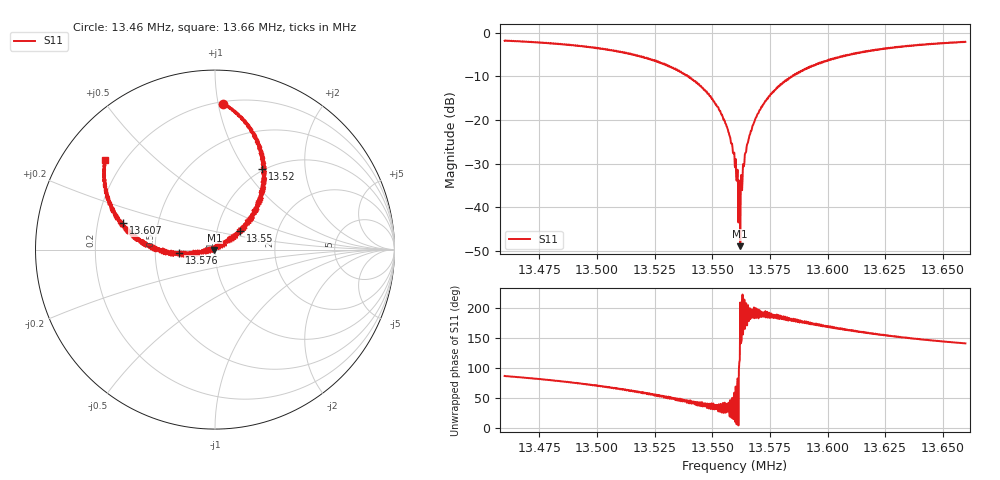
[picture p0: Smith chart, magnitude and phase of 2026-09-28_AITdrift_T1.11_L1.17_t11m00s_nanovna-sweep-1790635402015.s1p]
! NanoVNA Web complex sweep
! Processing: unaveraged complex samples; linear segment spacing; no smoothing
# Hz S RI R 50
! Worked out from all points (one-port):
!   1010 points, 13.46 MHz to 13.66 MHz, reference 50 ohm
!   lowest |S11| = -48.9 dB at 13.562 MHz (marker M1), VSWR 1.01, Z = 49.7 - j0.172 ohm
!   |S11| at or under -10 dB: 13.5394 MHz to 13.5394 MHz (1.969 Hz wide, 1.45e-05 % of centre); 13.53985 MHz to 13.58468 MHz (44.83 kHz wide, 0.331 % of centre)
!   S11 on the Smith chart (normalised r, x): 13.46 MHz: 0.22, +1.03; 13.52 MHz: 0.98, +1.20; 13.55 MHz: 1.29, +0.28; 13.576 MHz: 0.67, -0.03; 13.607 MHz: 0.31, +0.13; 13.66 MHz: 0.13, +0.35
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1.346e7  0.0451 0.8111
1.348515e7  0.1537 0.7195
1.351009e7  0.2629 0.5525
1.352019e7  0.2614 0.4495
1.353504e7  0.2388 0.2799
1.354336e7  0.2051 0.1728
1.354989e7  0.141 0.1035
1.355346e7  0.1137 0.0586
1.355623e7  0.0666 0.0529
1.35586e7  0.0343 0.0416
1.355999e7  0.0283 0.00535
1.356039e7  0.0153 0.0163
1.356098e7  0.00343 0.0268
1.356118e7  0.00281 0.0182
1.356138e7  0.00669 0.000564
1.356217e7  -0.00315 -0.00173
1.356316e7  -0.0155 -0.0139
1.356336e7  -0.0285 0.0128
1.356435e7  -0.0413 0.00721
1.356672e7  -0.0745 -0.008
1.357029e7  -0.1239 -0.0201
1.357563e7  -0.1984 -0.0183
1.358494e7  -0.3235 -0.00616
1.359563e7  -0.4398 0.0592
1.360652e7  -0.512 0.1484
1.360989e7  -0.5338 0.1732
1.363483e7  -0.6199 0.3528
1.365978e7  -0.6118 0.4971
